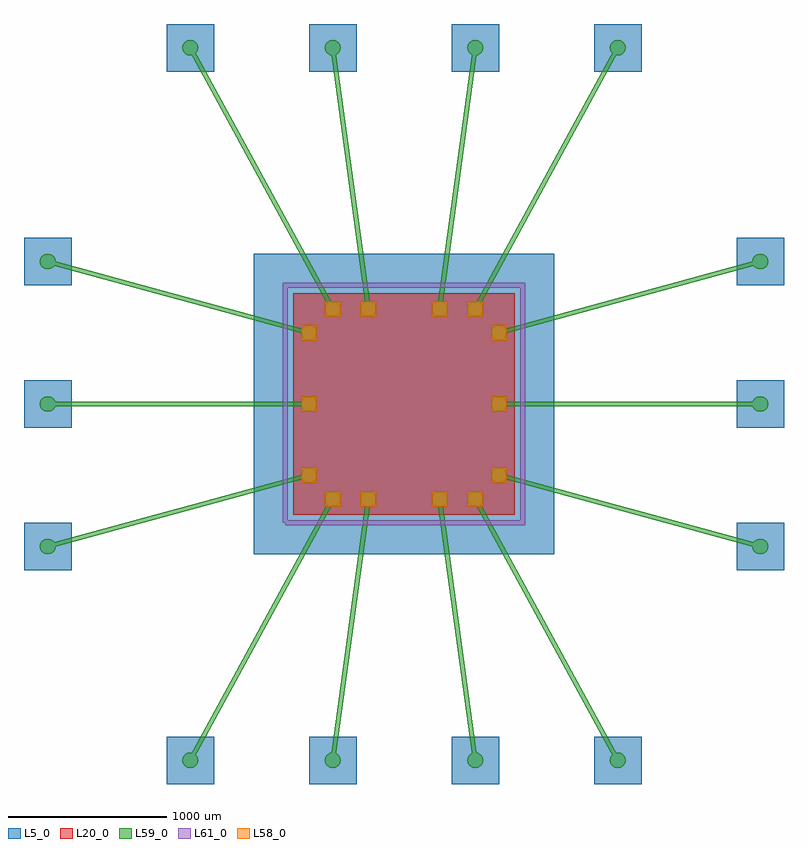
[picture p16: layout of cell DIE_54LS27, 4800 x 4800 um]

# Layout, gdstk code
import gdstk
lib = gdstk.Library(unit=1e-6, precision=1e-09)
def R(c, l, rs):  # rectangles x0, y0, x1, y1
    for r in rs: c.add(gdstk.rectangle(r[:2], r[2:], *l))
def A(c, l, x, y, w, h, nx, ny, dx, dy):  # array of equal rectangles
    R(c, l, [(x+i*dx, y+j*dy, x+i*dx+w, y+j*dy+h) for i in range(nx) for j in range(ny)])
def P(c, l, *ps):  # polygons
    for p in ps: c.add(gdstk.Polygon(p, *l))
L5_0 = (5, 0)
L20_0 = (20, 0)
L58_0 = (58, 0)
L59_0 = (59, 0)
L61_0 = (61, 0)

die_54ls27 = lib.new_cell('DIE_54LS27')
A(die_54ls27, L5_0, -1500, -2400, 300, 300, 4, 2, 900, 4500)
A(die_54ls27, L5_0, -2400, -1050, 300, 300, 1, 3, 0, 900)
A(die_54ls27, L5_0, 2100, -1050, 300, 300, 1, 3, 0, 900)
R(die_54ls27, L5_0, [(-950,-950,950,950)])
R(die_54ls27, L20_0, [(-700,-700,700,700)])
A(die_54ls27, L58_0, -650, -500, 100, 100, 1, 3, 0, 450)
A(die_54ls27, L58_0, 550, -500, 100, 100, 1, 3, 0, 450)
R(die_54ls27, L58_0, [(-500,-650,-400,-550), (-275,-650,-175,-550), (175,-650,275,-550), (400,-650,500,-550), (-500,550,-400,650), (-275,550,-175,650), (175,550,275,650), (400,550,500,650)])
P(die_54ls27, L59_0, [(-175,600),(-179,619),(-190,635),(-206,646),(-225,650),(-244,646),(-260,635),(-271,619),(-275,600),(-271,581),(-260,565),(-244,554),(-225,550),(-206,554),(-190,565),(-179,581)],
  [(-400,2250),(-404,2269),(-415,2285),(-431,2296),(-450,2300),(-469,2296),(-485,2285),(-496,2269),(-500,2250),(-496,2231),(-485,2215),(-469,2204),(-450,2200),(-431,2204),(-415,2215),(-404,2231)],
  [(-400,600),(-404,619),(-415,635),(-431,646),(-450,650),(-469,646),(-485,635),(-496,619),(-500,600),(-496,581),(-485,565),(-469,554),(-450,550),(-431,554),(-415,565),(-404,581)],
  [(-1300,2250),(-1304,2269),(-1315,2285),(-1331,2296),(-1350,2300),(-1369,2296),(-1385,2285),(-1396,2269),(-1400,2250),(-1396,2231),(-1385,2215),(-1369,2204),(-1350,2200),(-1331,2204),(-1315,2215),(-1304,2231)],
  [(-550,450),(-554,469),(-565,485),(-581,496),(-600,500),(-619,496),(-635,485),(-646,469),(-650,450),(-646,431),(-635,415),(-619,404),(-600,400),(-581,404),(-565,415),(-554,431)],
  [(-2200,900),(-2204,919),(-2215,935),(-2231,946),(-2250,950),(-2269,946),(-2285,935),(-2296,919),(-2300,900),(-2296,881),(-2285,865),(-2269,854),(-2250,850),(-2231,854),(-2215,865),(-2204,881)],
  [(-550,0),(-554,19),(-565,35),(-581,46),(-600,50),(-619,46),(-635,35),(-646,19),(-650,0),(-646,-19),(-635,-35),(-619,-46),(-600,-50),(-581,-46),(-565,-35),(-554,-19)],
  [(-2200,0),(-2204,19),(-2215,35),(-2231,46),(-2250,50),(-2269,46),(-2285,35),(-2296,19),(-2300,0),(-2296,-19),(-2285,-35),(-2269,-46),(-2250,-50),(-2231,-46),(-2215,-35),(-2204,-19)],
  [(-550,-450),(-554,-431),(-565,-415),(-581,-404),(-600,-400),(-619,-404),(-635,-415),(-646,-431),(-650,-450),(-646,-469),(-635,-485),(-619,-496),(-600,-500),(-581,-496),(-565,-485),(-554,-469)],
  [(-2200,-900),(-2204,-881),(-2215,-865),(-2231,-854),(-2250,-850),(-2269,-854),(-2285,-865),(-2296,-881),(-2300,-900),(-2296,-919),(-2285,-935),(-2269,-946),(-2250,-950),(-2231,-946),(-2215,-935),(-2204,-919)],
  [(-400,-600),(-404,-581),(-415,-565),(-431,-554),(-450,-550),(-469,-554),(-485,-565),(-496,-581),(-500,-600),(-496,-619),(-485,-635),(-469,-646),(-450,-650),(-431,-646),(-415,-635),(-404,-619)],
  [(-1300,-2250),(-1304,-2231),(-1315,-2215),(-1331,-2204),(-1350,-2200),(-1369,-2204),(-1385,-2215),(-1396,-2231),(-1400,-2250),(-1396,-2269),(-1385,-2285),(-1369,-2296),(-1350,-2300),(-1331,-2296),(-1315,-2285),(-1304,-2269)],
  [(-175,-600),(-179,-581),(-190,-565),(-206,-554),(-225,-550),(-244,-554),(-260,-565),(-271,-581),(-275,-600),(-271,-619),(-260,-635),(-244,-646),(-225,-650),(-206,-646),(-190,-635),(-179,-619)],
  [(-400,-2250),(-404,-2231),(-415,-2215),(-431,-2204),(-450,-2200),(-469,-2204),(-485,-2215),(-496,-2231),(-500,-2250),(-496,-2269),(-485,-2285),(-469,-2296),(-450,-2300),(-431,-2296),(-415,-2285),(-404,-2269)],
  [(275,-600),(271,-581),(260,-565),(244,-554),(225,-550),(206,-554),(190,-565),(179,-581),(175,-600),(179,-619),(190,-635),(206,-646),(225,-650),(244,-646),(260,-635),(271,-619)],
  [(500,-2250),(496,-2231),(485,-2215),(469,-2204),(450,-2200),(431,-2204),(415,-2215),(404,-2231),(400,-2250),(404,-2269),(415,-2285),(431,-2296),(450,-2300),(469,-2296),(485,-2285),(496,-2269)],
  [(500,-600),(496,-581),(485,-565),(469,-554),(450,-550),(431,-554),(415,-565),(404,-581),(400,-600),(404,-619),(415,-635),(431,-646),(450,-650),(469,-646),(485,-635),(496,-619)],
  [(1400,-2250),(1396,-2231),(1385,-2215),(1369,-2204),(1350,-2200),(1331,-2204),(1315,-2215),(1304,-2231),(1300,-2250),(1304,-2269),(1315,-2285),(1331,-2296),(1350,-2300),(1369,-2296),(1385,-2285),(1396,-2269)],
  [(650,-450),(646,-431),(635,-415),(619,-404),(600,-400),(581,-404),(565,-415),(554,-431),(550,-450),(554,-469),(565,-485),(581,-496),(600,-500),(619,-496),(635,-485),(646,-469)],
  [(2300,-900),(2296,-881),(2285,-865),(2269,-854),(2250,-850),(2231,-854),(2215,-865),(2204,-881),(2200,-900),(2204,-919),(2215,-935),(2231,-946),(2250,-950),(2269,-946),(2285,-935),(2296,-919)],
  [(650,0),(646,19),(635,35),(619,46),(600,50),(581,46),(565,35),(554,19),(550,0),(554,-19),(565,-35),(581,-46),(600,-50),(619,-46),(635,-35),(646,-19)],
  [(2300,0),(2296,19),(2285,35),(2269,46),(2250,50),(2231,46),(2215,35),(2204,19),(2200,0),(2204,-19),(2215,-35),(2231,-46),(2250,-50),(2269,-46),(2285,-35),(2296,-19)],
  [(650,450),(646,469),(635,485),(619,496),(600,500),(581,496),(565,485),(554,469),(550,450),(554,431),(565,415),(581,404),(600,400),(619,404),(635,415),(646,431)],
  [(2300,900),(2296,919),(2285,935),(2269,946),(2250,950),(2231,946),(2215,935),(2204,919),(2200,900),(2204,881),(2215,865),(2231,854),(2250,850),(2269,854),(2285,865),(2296,881)],
  [(500,600),(496,619),(485,635),(469,646),(450,650),(431,646),(415,635),(404,619),(400,600),(404,581),(415,565),(431,554),(450,550),(469,554),(485,565),(496,581)],
  [(1400,2250),(1396,2269),(1385,2285),(1369,2296),(1350,2300),(1331,2296),(1315,2285),(1304,2269),(1300,2250),(1304,2231),(1315,2215),(1331,2204),(1350,2200),(1369,2204),(1385,2215),(1396,2231)],
  [(275,600),(271,619),(260,635),(244,646),(225,650),(206,646),(190,635),(179,619),(175,600),(179,581),(190,565),(206,554),(225,550),(244,554),(260,565),(271,581)],
  [(500,2250),(496,2269),(485,2285),(469,2296),(450,2300),(431,2296),(415,2285),(404,2269),(400,2250),(404,2231),(415,2215),(431,2204),(450,2200),(469,2204),(485,2215),(496,2231)])
die_54ls27.add(gdstk.FlexPath([(-750,-750),(750,-750),(750,750),(-750,750),(-750,-750)], 30, ends="flush", simple_path=True, layer=61, datatype=0))  # L61_0
die_54ls27.add(gdstk.FlexPath([(-225,600),(-450,2250)], 30, ends="round", simple_path=True, layer=59, datatype=0))  # L59_0
die_54ls27.add(gdstk.FlexPath([(-450,600),(-1350,2250)], 30, ends="round", simple_path=True, layer=59, datatype=0))  # L59_0
die_54ls27.add(gdstk.FlexPath([(-600,450),(-2250,900)], 30, ends="round", simple_path=True, layer=59, datatype=0))  # L59_0
die_54ls27.add(gdstk.FlexPath([(-600,0),(-2250,0)], 30, ends="round", simple_path=True, layer=59, datatype=0))  # L59_0
die_54ls27.add(gdstk.FlexPath([(-600,-450),(-2250,-900)], 30, ends="round", simple_path=True, layer=59, datatype=0))  # L59_0
die_54ls27.add(gdstk.FlexPath([(-450,-600),(-1350,-2250)], 30, ends="round", simple_path=True, layer=59, datatype=0))  # L59_0
die_54ls27.add(gdstk.FlexPath([(-225,-600),(-450,-2250)], 30, ends="round", simple_path=True, layer=59, datatype=0))  # L59_0
die_54ls27.add(gdstk.FlexPath([(225,-600),(450,-2250)], 30, ends="round", simple_path=True, layer=59, datatype=0))  # L59_0
die_54ls27.add(gdstk.FlexPath([(450,-600),(1350,-2250)], 30, ends="round", simple_path=True, layer=59, datatype=0))  # L59_0
die_54ls27.add(gdstk.FlexPath([(600,-450),(2250,-900)], 30, ends="round", simple_path=True, layer=59, datatype=0))  # L59_0
die_54ls27.add(gdstk.FlexPath([(600,0),(2250,0)], 30, ends="round", simple_path=True, layer=59, datatype=0))  # L59_0
die_54ls27.add(gdstk.FlexPath([(600,450),(2250,900)], 30, ends="round", simple_path=True, layer=59, datatype=0))  # L59_0
die_54ls27.add(gdstk.FlexPath([(450,600),(1350,2250)], 30, ends="round", simple_path=True, layer=59, datatype=0))  # L59_0
die_54ls27.add(gdstk.FlexPath([(225,600),(450,2250)], 30, ends="round", simple_path=True, layer=59, datatype=0))  # L59_0

lib.write_gds('DIE_54LS27.gds')
